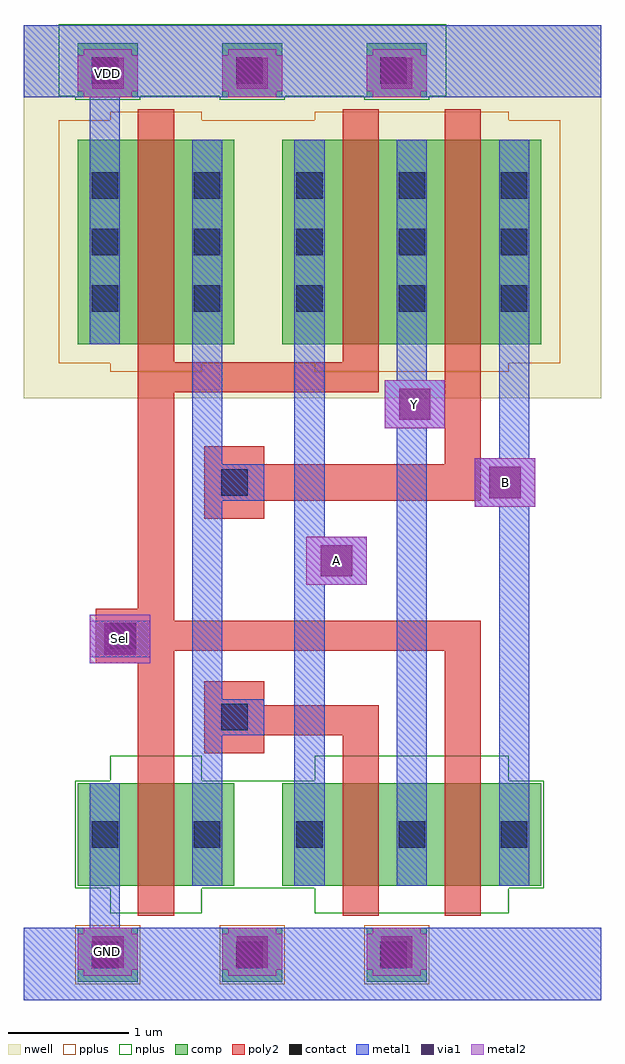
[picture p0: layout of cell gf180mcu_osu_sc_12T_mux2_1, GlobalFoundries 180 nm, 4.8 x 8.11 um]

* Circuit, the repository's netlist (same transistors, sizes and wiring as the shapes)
.inc "../../char/techfiles/design.hspice"
.lib "../../char/techfiles/sm141064.hspice" typical

.GLOBAL VDD
.GLOBAL GND

.option scale=0.05u

.subckt gf180mcu_osu_sc_12T_mux2_1 Y Sel A B
X0 B Sel Y GND nmos_3p3 w=17 l=6
X1 Y a_23_16 A GND nmos_3p3 w=17 l=6
X2 a_23_16 Sel GND GND nmos_3p3 w=17 l=6
X3 Y Sel A VDD pmos_3p3 w=34 l=6
X4 B a_23_16 Y VDD pmos_3p3 w=34 l=6
X5 a_23_16 Sel VDD VDD pmos_3p3 w=34 l=6
.ends

** hspice subcircuit dictionary

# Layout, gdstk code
import gdstk
lib = gdstk.Library(unit=1e-6, precision=1e-09)
def R(c, l, rs):  # rectangles x0, y0, x1, y1
    for r in rs: c.add(gdstk.rectangle(r[:2], r[2:], *l))
def A(c, l, x, y, w, h, nx, ny, dx, dy):  # array of equal rectangles
    R(c, l, [(x+i*dx, y+j*dy, x+i*dx+w, y+j*dy+h) for i in range(nx) for j in range(ny)])
nwell = (21, 0)
comp = (22, 0)
poly2 = (30, 0)
pplus = (31, 0)
nplus = (32, 0)
contact = (33, 0)
metal1 = (34, 0)
via1 = (35, 0)
metal2 = (36, 0)

gf180mcu_osu_sc_12t_mux2 = lib.new_cell('gf180mcu_osu_sc_12T_mux2_1')
R(gf180mcu_osu_sc_12t_mux2, nwell, [(-0.1,4.85,4.7,7.95)])
A(gf180mcu_osu_sc_12t_mux2, comp, 0.35, 0, 0.5, 0.45, 3, 2, 1.2, 7.35)
R(gf180mcu_osu_sc_12t_mux2, comp, [(0.35,0.8,1.65,1.65), (2.05,0.8,4.2,1.65), (0.35,5.3,1.65,7), (2.05,5.3,4.2,7)])
R(gf180mcu_osu_sc_12t_mux2, poly2, [(0.85,0.55,1.15,2.65), (2.55,0.55,2.85,2.05), (3.4,0.55,3.7,2.75), (1.4,1.9,1.9,2.05), (1.4,2.05,2.85,2.3), (1.4,2.3,1.9,2.5), (0.5,2.65,1.15,2.75), (0.5,2.75,3.7,3), (0.5,3,1.15,3.1), (0.85,3.1,1.15,4.9), (1.4,3.85,1.9,4), (1.4,4,3.7,4.3), (1.4,4.3,1.9,4.45), (3.4,4.3,3.7,7.25), (0.85,4.9,2.85,5.15), (0.85,5.15,1.15,7.25), (2.55,5.15,2.85,7.25)])
A(gf180mcu_osu_sc_12t_mux2, pplus, 0.33, -0.02, 0.54, 0.49, 3, 1, 1.2, 0)
R(gf180mcu_osu_sc_12t_mux2, pplus, [(0.62,5.07,1.38,5.14), (2.32,5.07,3.93,5.14), (0.19,5.14,4.36,7.16), (0.62,7.16,1.38,7.23), (2.32,7.16,3.93,7.23)])
A(gf180mcu_osu_sc_12t_mux2, nplus, 0.33, 7.33, 0.54, 0.03, 3, 1, 1.2, 0)
R(gf180mcu_osu_sc_12t_mux2, nplus, [(0.62,0.57,1.38,0.78), (2.32,0.57,3.93,0.78), (0.33,0.78,4.22,1.67), (0.62,1.67,1.38,1.88), (2.32,1.67,3.93,1.88), (0.19,7.36,3.41,7.96)])
A(gf180mcu_osu_sc_12t_mux2, contact, 0.465, 0.115, 0.22, 0.22, 3, 2, 1.2, 7.35)
A(gf180mcu_osu_sc_12t_mux2, contact, 0.465, 1.115, 0.22, 0.22, 5, 2, 0.85, 4.455)
A(gf180mcu_osu_sc_12t_mux2, contact, 0.465, 6.04, 0.22, 0.22, 5, 2, 0.85, 0.47)
R(gf180mcu_osu_sc_12t_mux2, contact, [(1.54,2.09,1.76,2.31), (0.615,2.765,0.835,2.985), (1.54,4.04,1.76,4.26)])
R(gf180mcu_osu_sc_12t_mux2, metal1, [(-0.1,-0.15,4.7,0.45), (0.45,0.45,0.7,1.65), (1.3,0.8,1.55,2.05), (2.15,0.8,2.4,3.3), (3,0.8,3.25,4.6), (3.85,0.8,4.1,3.95), (1.3,2.05,1.9,2.35), (1.3,2.35,1.55,4), (0.45,2.7,0.95,3), (2.15,3.3,2.75,3.7), (2.15,3.7,2.4,7), (3.65,3.95,4.15,4.35), (1.3,4,1.9,4.3), (1.3,4.3,1.55,7), (3.85,4.35,4.1,7), (2.9,4.6,3.4,5), (3,5,3.25,7), (0.45,5.3,0.7,7.35), (-0.1,7.35,4.7,7.95)])
A(gf180mcu_osu_sc_12t_mux2, via1, 0.47, 0.12, 0.26, 0.26, 3, 2, 1.2, 7.3)
R(gf180mcu_osu_sc_12t_mux2, via1, [(0.57,2.72,0.83,2.98), (2.37,3.37,2.63,3.63), (3.77,4.02,4.03,4.28), (3.02,4.67,3.28,4.93)])
A(gf180mcu_osu_sc_12t_mux2, metal2, 0.4, 0.05, 0.4, 0.05, 3, 2, 1.2, 0.35)
A(gf180mcu_osu_sc_12t_mux2, metal2, 0.35, 0.1, 0.5, 0.3, 3, 2, 1.2, 7.3)
A(gf180mcu_osu_sc_12t_mux2, metal2, 0.4, 7.35, 0.4, 0.05, 3, 2, 1.2, 0.35)
R(gf180mcu_osu_sc_12t_mux2, metal2, [(0.45,2.65,0.95,3.05), (2.25,3.3,2.75,3.7), (3.65,3.95,4.15,4.35), (2.9,4.6,3.4,5)])
gf180mcu_osu_sc_12t_mux2.add(gdstk.Label('GND', (0.6,0.25), layer=36, texttype=0))
gf180mcu_osu_sc_12t_mux2.add(gdstk.Label('VDD', (0.6,7.55), layer=36, texttype=0))
gf180mcu_osu_sc_12t_mux2.add(gdstk.Label('Y', (3.15,4.8), layer=36, texttype=10))
gf180mcu_osu_sc_12t_mux2.add(gdstk.Label('Sel', (0.7,2.85), layer=36, texttype=10))
gf180mcu_osu_sc_12t_mux2.add(gdstk.Label('A', (2.5,3.5), layer=36, texttype=10))
gf180mcu_osu_sc_12t_mux2.add(gdstk.Label('B', (3.9,4.15), layer=36, texttype=10))

lib.write_gds('gf180mcu_osu_sc_12T_mux2_1.gds')
